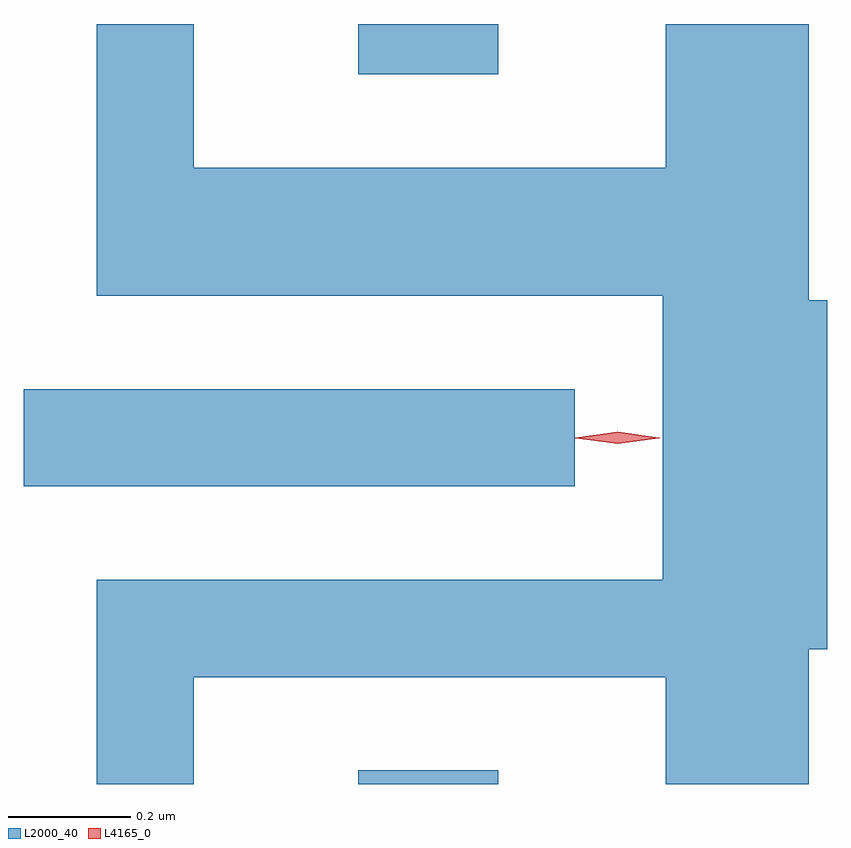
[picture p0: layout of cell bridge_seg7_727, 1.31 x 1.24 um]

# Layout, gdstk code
import gdstk
lib = gdstk.Library(unit=1e-6, precision=1e-09)
def R(c, l, rs):  # rectangles x0, y0, x1, y1
    for r in rs: c.add(gdstk.rectangle(r[:2], r[2:], *l))
def P(c, l, *ps):  # polygons
    for p in ps: c.add(gdstk.Polygon(p, *l))
L2000_40 = (2000, 40)
L4165_0 = (4165, 0)

bridge_seg7_727 = lib.new_cell('bridge_seg7_727')
R(bridge_seg7_727, L2000_40, [(878.171,1668.252,878.399,1668.274), (877.627,1668.736,878.523,1668.894), (878.171,1669.406,878.399,1669.488)])
P(bridge_seg7_727, L2000_40, [(877.904,1668.426),(878.671,1668.426),(878.671,1668.252),(878.904,1668.252),(878.904,1668.471),(878.934,1668.471),(878.934,1669.039),(878.904,1669.039),(878.904,1669.488),(878.671,1669.488),(878.671,1669.254),(877.904,1669.254),(877.904,1669.488),(877.746,1669.488),(877.746,1669.046),(878.666,1669.046),(878.666,1668.584),(877.746,1668.584),(877.746,1668.252),(877.904,1668.252)])
P(bridge_seg7_727, L4165_0, [(878.593,1668.805),(878.524,1668.814),(878.524,1668.815),(878.524,1668.815),(878.593,1668.825),(878.661,1668.815),(878.662,1668.815),(878.661,1668.814)],
  [(878.592,1668.805),(878.527,1668.814),(878.527,1668.815),(878.527,1668.815),(878.592,1668.825),(878.657,1668.815),(878.657,1668.815),(878.657,1668.814)])

lib.write_gds('bridge_seg7_727.gds')
